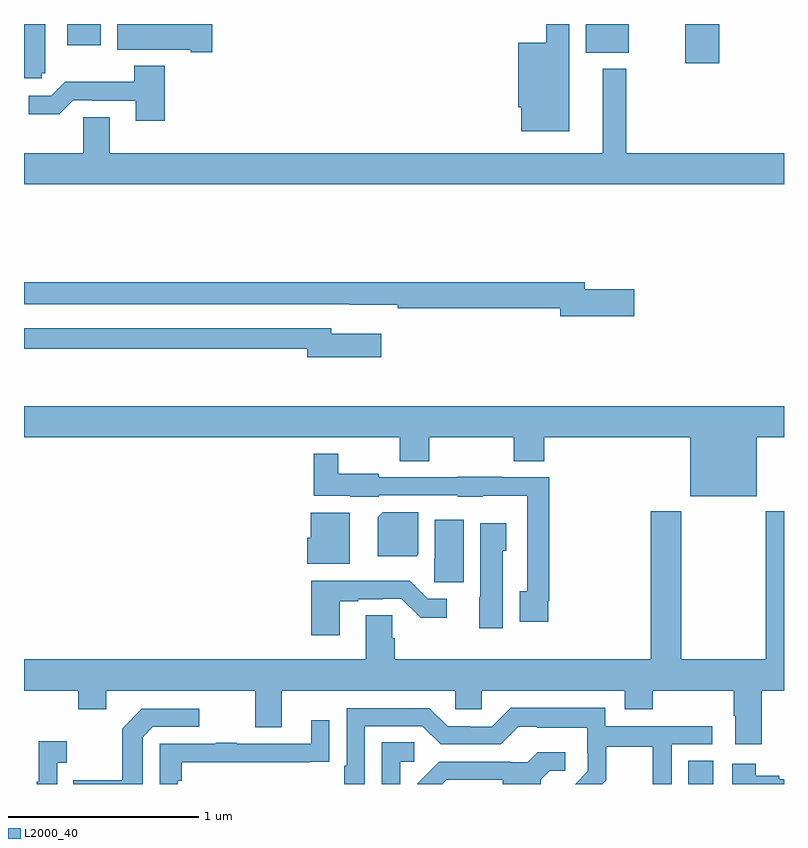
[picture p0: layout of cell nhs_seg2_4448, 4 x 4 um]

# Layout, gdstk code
import gdstk
lib = gdstk.Library(unit=1e-6, precision=1e-09)
def R(c, l, rs):  # rectangles x0, y0, x1, y1
    for r in rs: c.add(gdstk.rectangle(r[:2], r[2:], *l))
def P(c, l, *ps):  # polygons
    for p in ps: c.add(gdstk.Polygon(p, *l))
L2000_40 = (2000, 40)

nhs_seg2_4448 = lib.new_cell('nhs_seg2_4448')
R(nhs_seg2_4448, L2000_40, [(354.497,657.8,354.628,657.923), (354.481,661.593,354.659,661.8), (353.957,661.649,354.184,661.8), (351.228,661.688,351.405,661.8)])
P(nhs_seg2_4448, L2000_40, [(351.991,661.799),(351.761,661.799),(351.761,661.8),(351.49,661.8),(351.49,661.664),(351.878,661.664),(351.878,661.652),(351.991,661.652)],
  [(351.093,661.542),(351.112,661.542),(351.112,661.8),(351,661.8),(351,661.515),(351.093,661.515)],
  [(353.869,661.8),(353.748,661.8),(353.748,661.702),(353.6,661.702),(353.6,661.362),(353.618,661.362),(353.618,661.235),(353.869,661.235)],
  [(351.74,661.579),(351.58,661.579),(351.58,661.495),(351.217,661.495),(351.144,661.422),(351.024,661.422),(351.024,661.325),(351.185,661.325),(351.258,661.398),(351.358,661.398),(351.358,661.395),(351.587,661.395),(351.587,661.29),(351.74,661.29)],
  [(355,661.12),(354.169,661.12),(354.169,661.564),(354.047,661.564),(354.047,661.12),(351.451,661.12),(351.451,661.31),(351.312,661.31),(351.312,661.12),(351,661.12),(351,660.956),(355,660.956)],
  [(354.211,660.404),(353.95,660.404),(353.95,660.44),(351,660.44),(351,660.324),(352.714,660.324),(352.714,660.323),(352.966,660.323),(352.966,660.304),(353.822,660.304),(353.822,660.262),(354.211,660.262)],
  [(352.879,660.169),(352.618,660.169),(352.618,660.198),(351,660.198),(351,660.09),(352.49,660.09),(352.49,660.047),(352.879,660.047)],
  [(354.856,659.624),(355,659.624),(355,659.788),(351,659.788),(351,659.624),(352.978,659.624),(352.978,659.5),(353.133,659.5),(353.133,659.624),(353.578,659.624),(353.578,659.5),(353.738,659.5),(353.738,659.624),(354.506,659.624),(354.506,659.315),(354.856,659.315)],
  [(353.758,658.765),(353.765,658.765),(353.765,659.415),(353.515,659.415),(353.515,659.417),(353.283,659.417),(353.283,659.415),(352.866,659.415),(352.866,659.434),(352.654,659.434),(352.654,659.539),(352.525,659.539),(352.525,659.318),(352.716,659.318),(352.716,659.312),(352.866,659.312),(352.866,659.319),(353.283,659.319),(353.283,659.312),(353.415,659.312),(353.415,659.318),(353.649,659.318),(353.649,658.814),(353.609,658.814),(353.609,658.653),(353.758,658.653)],
  [(354.883,658.292),(355,658.292),(355,659.236),(354.904,659.236),(354.904,658.456),(354.459,658.456),(354.459,659.236),(354.299,659.236),(354.299,658.456),(352.952,658.456),(352.952,658.566),(352.938,658.566),(352.938,658.688),(352.799,658.688),(352.799,658.456),(351,658.456),(351,658.292),(351.286,658.292),(351.286,658.193),(351.433,658.193),(351.433,658.292),(352.217,658.292),(352.217,658.098),(352.357,658.098),(352.357,658.292),(353.271,658.292),(353.271,658.194),(353.409,658.194),(353.409,658.292),(354.161,658.292),(354.161,658.193),(354.309,658.193),(354.309,658.292),(354.736,658.292),(354.736,658.158),(354.743,658.158),(354.743,658.008),(354.883,658.008)],
  [(353.074,659.008),(353.074,659.23),(352.888,659.23),(352.862,659.204),(352.862,659),(353.066,659)],
  [(352.714,659.228),(352.508,659.228),(352.508,659.097),(352.49,659.097),(352.49,658.958),(352.714,658.958)],
  [(353.314,659.191),(353.162,659.191),(353.162,658.986),(353.158,658.986),(353.158,658.863),(353.314,658.863)],
  [(353.521,659.028),(353.539,659.028),(353.539,659.173),(353.402,659.173),(353.402,658.782),(353.396,658.782),(353.396,658.62),(353.521,658.62)],
  [(352.663,658.761),(352.759,658.761),(352.759,658.773),(352.886,658.773),(352.886,658.776),(352.986,658.776),(353.089,658.674),(353.224,658.674),(353.224,658.776),(353.124,658.776),(353.029,658.871),(352.511,658.871),(352.511,658.584),(352.663,658.584)],
  [(352.794,658.104),(353.097,658.104),(353.193,658.008),(353.508,658.008),(353.601,658.101),(353.701,658.101),(353.701,658.097),(353.964,658.097),(353.964,657.963),(353.966,657.963),(353.966,657.866),(353.9,657.8),(354.044,657.8),(354.065,657.821),(354.065,657.996),(354.31,657.996),(354.31,657.8),(354.408,657.8),(354.408,658.008),(354.622,658.008),(354.622,658.104),(354.06,658.104),(354.06,658.201),(353.563,658.201),(353.463,658.101),(353.348,658.101),(353.348,658.104),(353.229,658.104),(353.133,658.2),(352.698,658.2),(352.698,657.895),(352.685,657.895),(352.685,657.8),(352.794,657.8)],
  [(351.624,658.047),(351.678,658.101),(351.922,658.101),(351.922,658.197),(351.621,658.197),(351.516,658.091),(351.516,657.819),(351.259,657.819),(351.259,657.8),(351.624,657.8)],
  [(351.81,657.818),(351.83,657.818),(351.83,657.915),(352.505,657.915),(352.505,657.916),(352.607,657.916),(352.607,658.135),(352.511,658.135),(352.511,658.011),(352.121,658.011),(352.121,658.016),(352.009,658.016),(352.009,658.011),(351.714,658.011),(351.714,657.8),(351.81,657.8)],
  [(351.174,657.911),(351.226,657.911),(351.226,658.024),(351.077,658.024),(351.077,657.811),(351.066,657.811),(351.066,657.8),(351.174,657.8)],
  [(352.98,657.918),(353.053,657.918),(353.053,658.019),(352.884,658.019),(352.884,657.8),(352.98,657.8)],
  [(353.224,657.822),(353.519,657.822),(353.519,657.8),(353.719,657.8),(353.719,657.823),(353.766,657.87),(353.848,657.87),(353.848,657.967),(353.704,657.967),(353.652,657.915),(353.558,657.915),(353.558,657.918),(353.186,657.918),(353.07,657.802),(353.07,657.8),(353.202,657.8)],
  [(355,657.825),(354.975,657.825),(354.975,657.844),(354.85,657.844),(354.85,657.907),(354.728,657.907),(354.728,657.8),(355,657.8)])

lib.write_gds('nhs_seg2_4448.gds')
